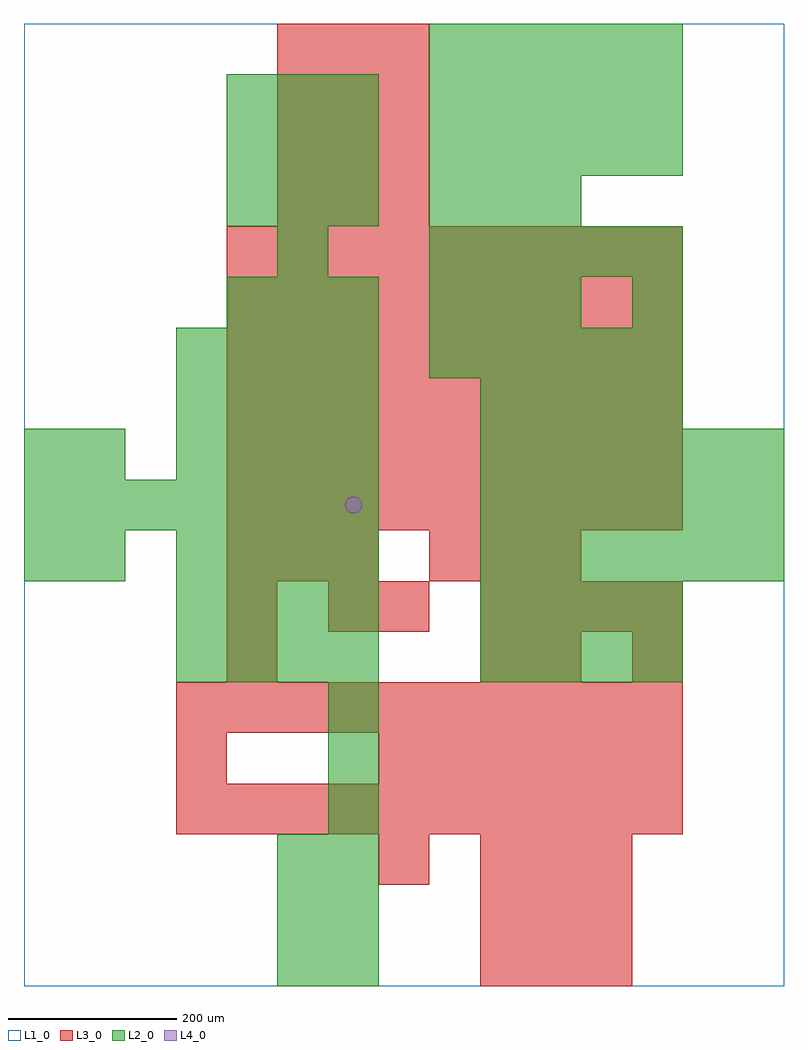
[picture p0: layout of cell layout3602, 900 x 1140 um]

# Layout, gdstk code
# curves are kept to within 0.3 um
import gdstk
lib = gdstk.Library(unit=1e-6, precision=1e-09)
def R(c, l, rs):  # rectangles x0, y0, x1, y1
    for r in rs: c.add(gdstk.rectangle(r[:2], r[2:], *l))
def A(c, l, x, y, w, h, nx, ny, dx, dy):  # array of equal rectangles
    R(c, l, [(x+i*dx, y+j*dy, x+i*dx+w, y+j*dy+h) for i in range(nx) for j in range(ny)])
def P(c, l, *ps):  # polygons
    for p in ps: c.add(gdstk.Polygon(p, *l))
L1_0 = (1, 0)
L2_0 = (2, 0)
L3_0 = (3, 0)
L4_0 = (4, 0)

layout3602 = lib.new_cell('layout3602')
R(layout3602, L1_0, [(0,0,900,1140)])
A(layout3602, L2_0, 300, 0, 60, 60, 1, 3, 0, 60)
A(layout3602, L2_0, 360, 0, 60, 60, 1, 6, 0, 60)
A(layout3602, L2_0, 180, 360, 60, 60, 4, 3, 60, 60)
A(layout3602, L2_0, 540, 360, 60, 60, 4, 2, 60, 60)
A(layout3602, L2_0, 540, 480, 60, 60, 6, 3, 60, 60)
A(layout3602, L2_0, 0, 540, 60, 60, 7, 1, 60, 0)
A(layout3602, L2_0, 180, 600, 60, 60, 4, 3, 60, 60)
A(layout3602, L2_0, 540, 660, 60, 60, 4, 1, 60, 0)
A(layout3602, L2_0, 480, 720, 60, 60, 5, 3, 60, 120)
A(layout3602, L2_0, 240, 780, 60, 60, 3, 2, 60, 120)
A(layout3602, L2_0, 480, 780, 60, 60, 3, 2, 60, 120)
A(layout3602, L2_0, 240, 960, 60, 60, 3, 2, 60, 60)
A(layout3602, L2_0, 480, 1020, 60, 60, 5, 2, 60, 60)
R(layout3602, L2_0, [(0,480,60,540), (60,480,120,540), (0,600,60,660), (60,600,120,660), (720,780,780,840), (300,840,360,900)])
A(layout3602, L3_0, 540, 0, 60, 60, 3, 3, 60, 60)
A(layout3602, L3_0, 180, 180, 60, 60, 10, 2, 60, 120)
A(layout3602, L3_0, 420, 240, 60, 60, 6, 1, 60, 0)
A(layout3602, L3_0, 540, 420, 60, 60, 4, 1, 60, 0)
A(layout3602, L3_0, 240, 480, 60, 60, 3, 1, 60, 0)
A(layout3602, L3_0, 480, 480, 60, 60, 3, 1, 60, 0)
A(layout3602, L3_0, 240, 540, 60, 60, 9, 6, 60, 60)
A(layout3602, L3_0, 300, 900, 60, 60, 3, 4, 60, 60)
R(layout3602, L3_0, [(420,120,480,180), (180,240,240,300), (240,360,300,420), (540,360,600,420), (600,360,660,420), (720,360,780,420), (240,420,300,480), (360,420,420,480), (420,420,480,480)])
P(layout3602, L4_0, [(400,570),(399.239,573.827),(397.071,577.071),(393.827,579.239),(390,580),(386.173,579.239),(382.929,577.071),(380.761,573.827),(380,570),(380.761,566.173),(382.929,562.929),(386.173,560.761),(390,560),(393.827,560.761),(397.071,562.929),(399.239,566.173)])

lib.write_gds('layout3602.gds')
